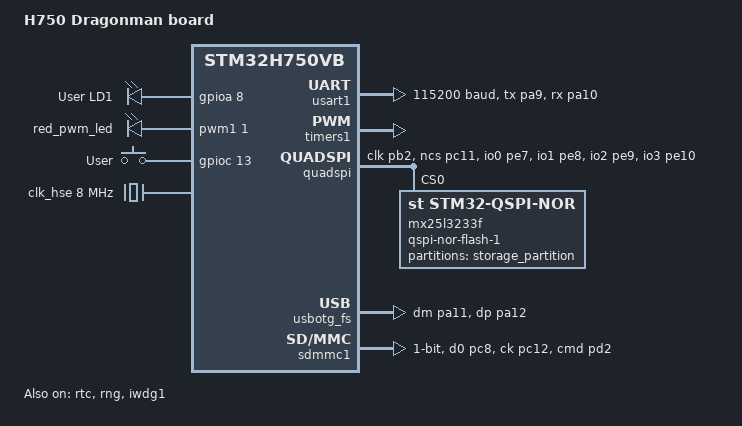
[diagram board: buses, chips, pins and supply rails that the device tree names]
/dts-v1/;
#include <st/h7/stm32h750Xb.dtsi>
#include <st/h7/stm32h750vbtx-pinctrl.dtsi>

/ {
	model = "H750 Dragonman board";
	compatible = "st,stm32h750vb-nucleo";

	chosen {
		zephyr,console = &usart1;
		zephyr,shell-uart = &usart1;
		zephyr,sram = &sram0;
		zephyr,flash = &flash0;
		zephyr,flash-controller = &mx25l3233f;
		zephyr,dtcm = &dtcm;
		zephyr,code-partition = &slot0_partition;
	};

	leds {
		compatible = "gpio-leds";
		green_led: led_0 {
			gpios = <&gpioa 8 GPIO_ACTIVE_HIGH>;
			label = "User LD1";
		};
	};

	pwmleds {
		compatible = "pwm-leds";

		red_pwm_led: red_pwm_led {
			pwms = <&pwm1 1 4 PWM_POLARITY_NORMAL>;
		};
	};

	gpio_keys {
		compatible = "gpio-keys";
		user_button: button_0 {
			label = "User";
			gpios = <&gpioc 13 GPIO_ACTIVE_HIGH>;
		};
	};

	aliases {
		led0 = &green_led;
		pwm-led0 = &red_pwm_led;
		sw0 = &user_button;
		spi-flash0 = &mx25l3233f;
		sdhc0 = &sdmmc1;
	};
};

&clk_hse {
	clock-frequency = <DT_FREQ_M(8)>;
	status = "okay";
};

&pll {
	div-m = <4>;
	mul-n = <384>;
	div-p = <2>;
	div-q = <16>;
	div-r = <2>;
	clocks = <&clk_hse>;
	status = "okay";
};

&rcc {
	clocks = <&pll>;
	clock-frequency = <DT_FREQ_M(384)>;
	d1cpre = <1>;
	hpre = <2>;
	d1ppre = <2>;
	d2ppre1 = <2>;
	d2ppre2 = <2>;
	d3ppre = <2>;
};

&usart1 {
	pinctrl-0 = <&usart1_tx_pa9 &usart1_rx_pa10>;
	pinctrl-names = "default";
	current-speed = <115200>;
	status = "okay";
};

&rtc {
	status = "okay";
};

&timers1 {
	status = "okay";

	pwm1: pwm {
		status = "okay";
		pinctrl-0 = <&tim1_ch1_pa8>;
		pinctrl-names = "default";
	};
};

&rng {
	status = "okay";
};

&backup_sram {
	status = "okay";
};

&flash0 {
	partitions {
		compatible = "fixed-partitions";
		#address-cells = <1>;
		#size-cells = <1>;

		/* 128KB for bootloader */
		slot0_partition: partition@0 {
			label = "image-0";
			reg = <0x00000000 0x00020000>;
			read-only;
		};
	};
};

&iwdg1 {
	status = "okay";
};

&quadspi {
	pinctrl-names = "default";
	pinctrl-0 = <
			&quadspi_clk_pb2
			&quadspi_bk2_ncs_pc11
			&quadspi_bk2_io0_pe7
			&quadspi_bk2_io1_pe8
			&quadspi_bk2_io2_pe9
			&quadspi_bk2_io3_pe10
	>;
	flash-id = <2>;
	status = "okay";

	mx25l3233f: qspi-nor-flash-1@0 {
		compatible = "st,stm32-qspi-nor";
		reg = <0>;
		qspi-max-frequency = <72000000>;
		size = <DT_SIZE_M(32)>; /* 4 MBytes */
		spi-bus-width = <4>;
		status = "okay";

		partitions {
			   compatible = "fixed-partitions";
			   #address-cells = <1>;
			   #size-cells = <1>;

			   storage_partition: partition@0 {
			       reg = <0x0 DT_SIZE_M(2)>;
			   };
		};
	};
};

zephyr_udc0: &usbotg_fs {
	pinctrl-0 = <&usb_otg_fs_dm_pa11 &usb_otg_fs_dp_pa12>;
	pinctrl-names = "default";
	status = "okay";
};

&sdmmc1 {
	pinctrl-0 = <
		&sdmmc1_d0_pc8
		&sdmmc1_ck_pc12
		&sdmmc1_cmd_pd2
	>;
	pinctrl-names = "default";
	bus-width = <1>;
	status = "okay";
	label = "SD";
};
